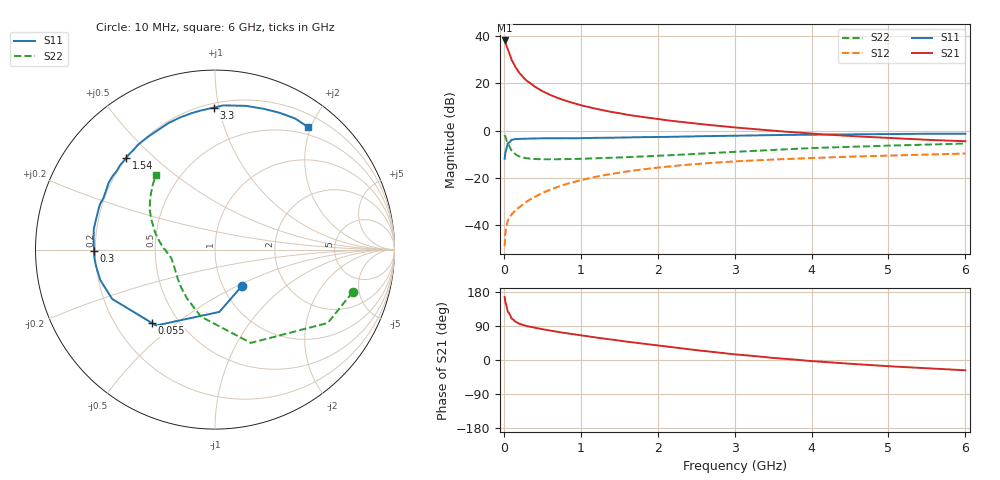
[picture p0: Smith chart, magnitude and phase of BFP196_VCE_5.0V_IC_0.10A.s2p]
! Infineon Technologies  Discrete & RF Semiconductors
! BFP196
! VCE = 5.0 V,  IC = 0.10A
! Common Emitter S-Parameters:  Jan 2016
# GHz  S  MA  R  50
!  f  S11  S21  S12  S22
! GHz  MAG  ANG  MAG  ANG  MAG  ANG  MAG  ANG
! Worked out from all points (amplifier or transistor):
!   210 points, 10 MHz to 6 GHz, reference 50 ohm
!   highest |S21| = 38.3 dB at 10 MHz (marker M1)
!   |S21| within 3 dB of that: start of sweep to 42.22 MHz
!   unconditionally stable (mu >= 1): 357.7 MHz to 4.922 GHz
!   at 185 MHz: K = 0.83, MSG = 29.2 dB, |S12| = -33.0 dB
!   at 1.52 GHz: K = 1.09, MAG = 10.8 dB, |S12| = -17.8 dB
!   at 6 GHz: K = 0.98, MSG = 2.6 dB, |S12| = -9.8 dB
!   S11 on the Smith chart (normalised r, x): 10 MHz: 1.23, -0.53; 55 MHz: 0.36, -0.41; 300 MHz: 0.19, -0.01; 1.54 GHz: 0.20, +0.41; 3.3 GHz: 0.23, +0.96; 6 GHz: 0.38, +1.95
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0.01  0.2515 -53.0  82.11 166.2  0.0035 77.5  0.8022 -17.2
0.02  0.3481 -86.0  75.59 153.0  0.0067 68.4  0.7498 -33.0
0.05  0.5352 -127.8  53.64 128.1  0.0121 53.6  0.5569 -69.0
0.055  0.5393 -130.8  51.32 127.0  0.0125 53.2  0.5337 -71.2
0.1  0.6353 -154.3  32.03 109.6  0.0165 50.8  0.3818 -101.8
0.15  0.661 -165.0  22.24 101.0  0.0202 52.7  0.3134 -119.9
0.2  0.6684 -171.6  16.96 95.7  0.0234 57.1  0.2836 -131.6
0.24  0.6726 -175.3  14.24 93.0  0.0264 59.4  0.2693 -138.4
0.26  0.6739 -176.8  13.13 91.6  0.0279 60.4  0.2645 -141.3
0.3  0.674 -179.4  11.37 89.4  0.0313 62.2  0.258 -145.6
0.4  0.6794 174.5  8.6 85.0  0.0388 64.7  0.2486 -153.6
0.5  0.6851 170.2  6.867 81.3  0.047 65.2  0.246 -158.9
0.6  0.6834 165.9  5.737 77.6  0.0552 65.7  0.2451 -162.4
0.8  0.6888 158.4  4.318 71.0  0.072 64.7  0.2474 -167.0
1.02  0.6928 150.5  3.399 64.5  0.0899 62.7  0.2518 -170.8
1.54  0.7107 134.3  2.276 50.1  0.1304 55.7  0.2699 -177.2
2.02  0.7312 120.6  1.738 37.8  0.1644 48.3  0.292 176.6
3.1  0.7814 94.4  1.13 13.3  0.2256 31.9  0.36 160.9
3.3  0.7913 90.5  1.059 9.6  0.2339 29.0  0.374 158.0
4.1  0.8204 76.4  0.841 -4.2  0.2646 19.0  0.4304 147.6
5.1  0.845 63.3  0.683 -17.5  0.2976 7.8  0.4837 136.9
6  0.857 53.0  0.594 -27.1  0.3252 -2.2  0.5302 128.0
